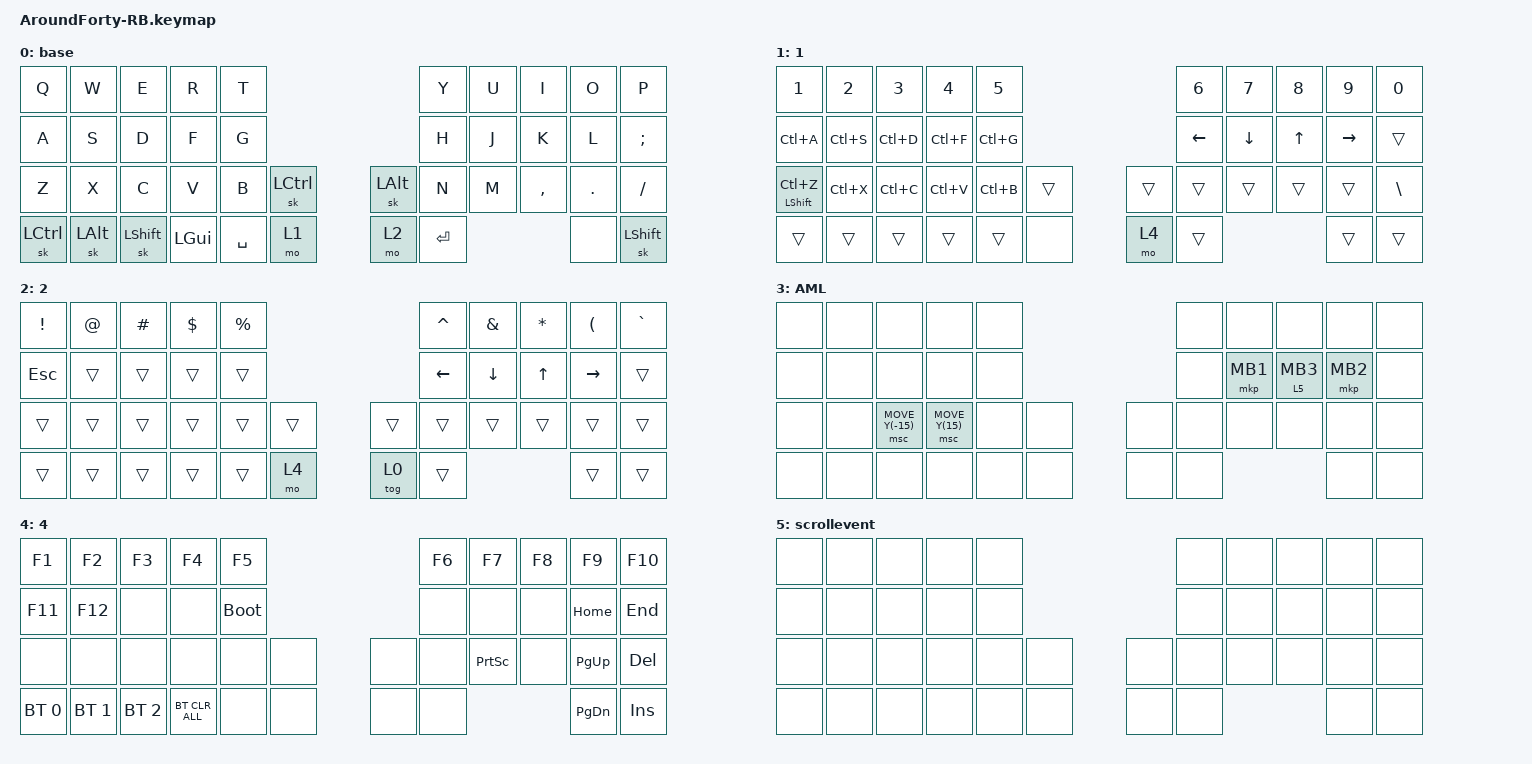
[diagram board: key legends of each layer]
#include <behaviors/rgbled_widget.dtsi>
#include <behaviors.dtsi>
#include <dt-bindings/zmk/bt.h>
#include <dt-bindings/zmk/keys.h>
#include <dt-bindings/zmk/pointing.h>

&mt {
    flavor = "balanced";
    quick-tap-ms = <0>;
};

/ {
    combos {
        compatible = "zmk,combos";

        tab {
            bindings = <&kp TAB>;
            key-positions = <0 1>;
            layers = <0>;
            timeout-ms = <40>;
            require-prior-idle-ms = <75>;
        };

        ctr {
            bindings = <&sk LCTRL>;
            key-positions = <10 11>;
            layers = <0 3>;
            timeout-ms = <40>;
            require-prior-idle-ms = <75>;
        };

        sft {
            bindings = <&sk LSHFT>;
            key-positions = <20 21>;
            layers = <0 3>;
            timeout-ms = <40>;
            require-prior-idle-ms = <75>;
        };

        bksp {
            bindings = <&kp BACKSPACE>;
            key-positions = <15 16>;
            layers = <0 3>;
            timeout-ms = <40>;
            require-prior-idle-ms = <75>;
        };

        parelf {
            bindings = <&kp LEFT_PARENTHESIS>;
            key-positions = <6 7>;
            layers = <0>;
            timeout-ms = <40>;
            require-prior-idle-ms = <75>;
        };

        parergt {
            bindings = <&kp RIGHT_PARENTHESIS>;
            key-positions = <8 7>;
            layers = <0>;
            timeout-ms = <40>;
            require-prior-idle-ms = <75>;
        };

        bralf {
            bindings = <&kp LEFT_BRACKET>;
            key-positions = <17 16>;
            layers = <0>;
            timeout-ms = <40>;
            require-prior-idle-ms = <75>;
        };

        brargt {
            bindings = <&kp RIGHT_BRACKET>;
            key-positions = <17 18>;
            layers = <0>;
            timeout-ms = <40>;
            require-prior-idle-ms = <75>;
        };

        quote {
            bindings = <&kp SINGLE_QUOTE>;
            key-positions = <27 28>;
            layers = <0>;
            timeout-ms = <40>;
            require-prior-idle-ms = <75>;
        };

        equal {
            bindings = <&kp EQUAL>;
            key-positions = <18 19>;
            layers = <0>;
            timeout-ms = <40>;
            require-prior-idle-ms = <75>;
        };

        hyphen {
            bindings = <&kp MINUS>;
            key-positions = <8 9>;
            layers = <0>;
            timeout-ms = <40>;
            require-prior-idle-ms = <75>;
        };

        scroll {
            bindings = <&sk LEFT_SHIFT>;
            key-positions = <41 40>;
            timeout-ms = <40>;
            require-prior-idle-ms = <75>;
            layers = <0>;
        };
    };

    macros {
        to_layer_0: to_layer_0 {
            compatible = "zmk,behavior-macro-one-param";
            #binding-cells = <1>;
            bindings = <&to 0 &macro_param_1to1 &kp MACRO_PLACEHOLDER>;
            label = "TO_LAYER_0";
        };

        // Windows用入力切り替え：Alt + Grave (~)

        ime_tog: ime_toggle {
            compatible = "zmk,behavior-macro";
            #binding-cells = <0>;
            bindings =
                <&macro_press>,
                <&kp LALT>,
                <&macro_tap>,
                <&kp GRAVE>,
                <&macro_release>,
                <&kp LALT>;
        };

        // macOS用入力切り替え：Ctrl + Space

        mac_ime: mac_ime_toggle {
            compatible = "zmk,behavior-macro";
            #binding-cells = <0>;
            bindings =
                <&macro_press>,
                <&kp LCTRL>,
                <&macro_tap>,
                <&kp SPACE>,
                <&macro_release>,
                <&kp LCTRL>;
        };
    };

    behaviors {
        lt_to_layer_0: lt_to_layer_0 {
            compatible = "zmk,behavior-hold-tap";
            label = "LAYER_TAP_TO_0";
            bindings = <&mo>, <&to_layer_0>;

            #binding-cells = <2>;
            tapping-term-ms = <200>;
        };

        // 

        scroll_up_down: behavior_sensor_rotate_mouse_wheel_up_down {
            compatible = "zmk,behavior-sensor-rotate";
            #sensor-binding-cells = <0>;
            bindings = <&msc SCRL_UP>, <&msc SCRL_DOWN>;

            tap-ms = <20>;
        };

        layermod: layermod {
            compatible = "zmk,behavior-hold-tap";
            label = "LAYERMOD";
            bindings = <&mo>, <&lt>;

            #binding-cells = <2>;
            tapping-term-ms = <120>;
        };

        midwheel: midwheel {
            compatible = "zmk,behavior-hold-tap";
            label = "MIDWHEEL";
            bindings = <&mo>, <&mkp>;

            #binding-cells = <2>;
            tapping-term-ms = <120>;
        };
    };

    keymap {
        compatible = "zmk,keymap";

        base {
            display-name = "base";
            bindings = <
&kp Q      &kp W         &kp E           &kp R         &kp T                 &kp Y      &kp U         &kp I      &kp O    &kp P
&kp A      &kp S         &kp D           &kp F         &kp G                 &kp H      &kp J         &kp K      &kp L    &kp SEMI
&kp Z      &kp X         &kp C           &kp V         &kp B      &sk LCTRL  &kp N      &kp M         &kp COMMA  &kp DOT  &kp SLASH
&sk LCTRL  &sk LEFT_ALT  &sk LEFT_SHIFT  &kp LEFT_GUI  &kp SPACE  &mo 1      &kp ENTER  &sk LEFT_ALT  &mo 2      &none    &sk LEFT_SHIFT
            >;
        };

        layer1 {
            display-name = "1";
            bindings = <
&kp NUMBER_1          &kp NUMBER_2  &kp NUMBER_3  &kp NUMBER_4  &kp N5             &kp NUMBER_6    &kp N7    &kp N8        &kp N9     &kp N0
&kp LC(A)             &kp LC(S)     &kp LC(D)     &kp LC(F)     &kp LC(G)          &kp LEFT_ARROW  &kp DOWN  &kp UP_ARROW  &kp RIGHT  &trans
&mt LEFT_SHIFT LC(Z)  &kp LC(X)     &kp LC(C)     &kp LC(V)     &kp LC(B)  &trans  &trans          &trans    &trans        &trans     &kp BACKSLASH
&trans                &trans        &trans        &trans        &trans     &none   &trans          &trans    &mo 4         &trans     &trans
            >;
        };

        layer2 {
            display-name = "2";
            bindings = <
&kp EXCL    &kp AT_SIGN  &kp HASH  &kp DOLLAR  &kp PERCENT          &kp CARET  &kp AMPERSAND  &kp ASTERISK  &kp LEFT_PARENTHESIS  &kp GRAVE
&kp ESCAPE  &trans       &trans    &trans      &trans               &kp LEFT   &kp DOWN       &kp UP_ARROW  &kp RIGHT             &trans
&trans      &trans       &trans    &trans      &trans       &trans  &trans     &trans         &trans        &trans                &trans
&trans      &trans       &trans    &trans      &trans       &mo 4   &trans     &trans         &tog 0        &trans                &trans
            >;
        };

        AML {
            display-name = "AML";
            bindings = <
&none  &none  &none             &none            &none         &none  &none     &none            &none     &none
&none  &none  &none             &none            &none         &none  &mkp MB1  &midwheel 5 MB3  &mkp MB2  &none
&none  &none  &msc MOVE_Y(-15)  &msc MOVE_Y(15)  &none  &none  &none  &none     &none            &none     &none
&none  &none  &none             &none            &none  &none  &none  &none     &none            &none     &none
            >;
        };

        layer_4 {
            bindings = <
&kp F1        &kp F2        &kp F3        &kp F4          &kp F5              &kp F6  &kp F7           &kp F8  &kp F9     &kp F10
&kp F11       &kp F12       &none         &none           &bootloader         &none   &none            &none   &kp HOME   &kp END
&none         &none         &none         &none           &none        &none  &none   &kp PRINTSCREEN  &none   &kp PG_UP  &kp DEL
&bt BT_SEL 0  &bt BT_SEL 1  &bt BT_SEL 2  &bt BT_CLR_ALL  &none        &none  &none   &none            &none   &kp PG_DN  &kp INS
            >;

            label = "4";
        };

        scrollevent {
            bindings = <
&none  &none  &none  &none  &none         &none  &none  &none  &none  &none
&none  &none  &none  &none  &none         &none  &none  &none  &none  &none
&none  &none  &none  &none  &none  &none  &none  &none  &none  &none  &none
&none  &none  &none  &none  &none  &none  &none  &none  &none  &none  &none
            >;
        };
    };
};
